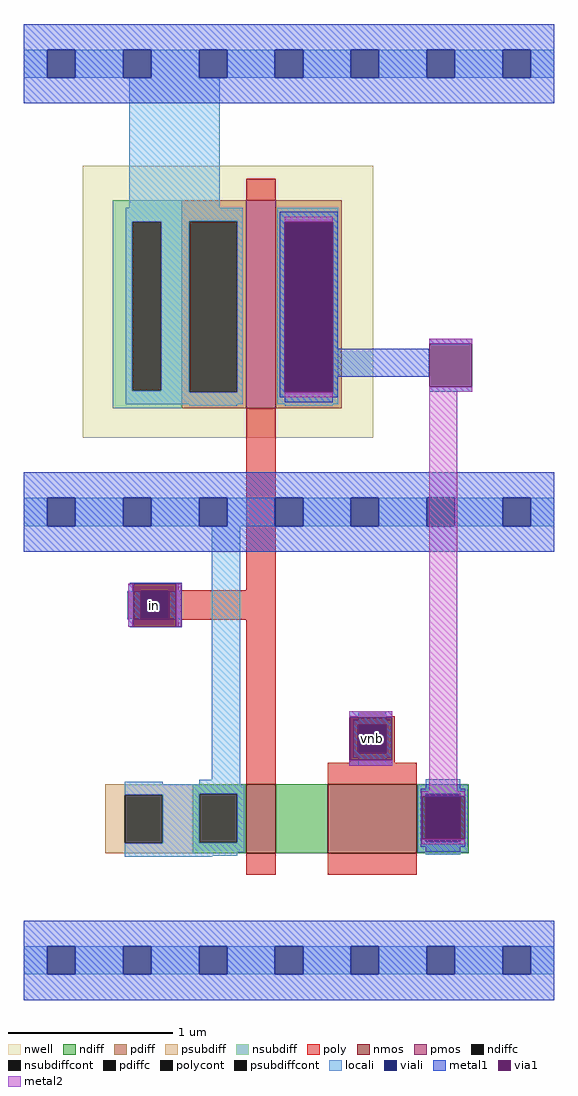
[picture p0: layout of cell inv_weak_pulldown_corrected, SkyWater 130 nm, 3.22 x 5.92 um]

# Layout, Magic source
magic
tech sky130B
magscale 1 2
<< nwell >>
rect -204 554 148 884
<< nmos >>
rect -6 50 30 134
rect 93 50 201 134
<< pmos >>
rect -6 590 30 842
<< ndiff >>
rect -71 122 -6 134
rect -71 63 -63 122
rect -17 63 -6 122
rect -71 50 -6 63
rect 30 50 93 134
rect 201 122 264 134
rect 201 64 212 122
rect 254 64 264 122
rect 201 50 264 64
<< pdiff >>
rect -84 817 -6 842
rect -84 609 -75 817
rect -17 609 -6 817
rect -84 590 -6 609
rect 30 816 110 842
rect 30 609 41 816
rect 99 609 110 816
rect 30 590 110 609
<< ndiffc >>
rect -63 63 -17 122
rect 212 64 254 122
<< pdiffc >>
rect -75 609 -17 817
rect 41 609 99 816
<< psubdiff >>
rect -177 121 -71 134
rect -177 62 -153 121
rect -107 62 -71 121
rect -177 50 -71 62
<< nsubdiff >>
rect -168 816 -84 842
rect -168 611 -144 816
rect -109 611 -84 816
rect -168 590 -84 611
<< psubdiffcont >>
rect -153 62 -107 121
<< nsubdiffcont >>
rect -144 611 -109 816
<< poly >>
rect -6 842 30 868
rect -144 369 -88 378
rect -6 369 30 590
rect -144 368 30 369
rect -150 334 -134 368
rect -100 334 30 368
rect -144 333 30 334
rect -144 324 -88 333
rect -6 134 30 333
rect 130 216 164 222
rect 120 206 174 216
rect 120 172 130 206
rect 164 172 174 206
rect 120 160 174 172
rect 93 134 201 160
rect -6 24 30 50
rect 93 24 201 50
<< polycont >>
rect -134 334 -100 368
rect 130 172 164 206
<< locali >>
rect -276 991 -247 1025
rect -213 991 -155 1025
rect -121 991 -63 1025
rect -29 991 29 1025
rect 63 991 121 1025
rect 155 991 213 1025
rect 247 991 305 1025
rect 339 991 368 1025
rect -148 833 -38 991
rect -152 817 -10 833
rect -152 816 -75 817
rect -152 611 -144 816
rect -109 611 -75 816
rect -152 609 -75 611
rect -17 609 -10 817
rect -152 595 -10 609
rect 32 816 106 833
rect 32 609 41 816
rect 99 609 106 816
rect 32 595 106 609
rect -75 593 -17 595
rect 41 593 99 595
rect -276 447 -247 481
rect -213 447 -155 481
rect -121 447 -63 481
rect -29 447 29 481
rect 63 447 121 481
rect 155 447 213 481
rect 247 447 305 481
rect 339 447 368 481
rect -150 334 -134 368
rect -100 334 -84 368
rect -48 139 -13 447
rect 130 212 164 222
rect 124 206 170 212
rect 124 172 130 206
rect 164 172 170 206
rect 124 166 170 172
rect 130 156 164 166
rect -153 134 -107 137
rect -63 134 -13 139
rect -153 133 -13 134
rect 212 133 254 140
rect -153 122 -8 133
rect -153 121 -63 122
rect -107 63 -63 121
rect -17 63 -8 122
rect -107 62 -8 63
rect -153 51 -8 62
rect 202 122 263 133
rect 202 64 212 122
rect 254 64 263 122
rect 202 51 263 64
rect -153 47 -17 51
rect 212 48 254 51
rect -153 46 -47 47
rect -276 -97 -247 -63
rect -213 -97 -155 -63
rect -121 -97 -63 -63
rect -29 -97 29 -63
rect 63 -97 121 -63
rect 155 -97 213 -63
rect 247 -97 305 -63
rect 339 -97 368 -63
<< viali >>
rect -247 991 -213 1025
rect -155 991 -121 1025
rect -63 991 -29 1025
rect 29 991 63 1025
rect 121 991 155 1025
rect 213 991 247 1025
rect 305 991 339 1025
rect 41 609 99 816
rect -247 447 -213 481
rect -155 447 -121 481
rect -63 447 -29 481
rect 29 447 63 481
rect 121 447 155 481
rect 213 447 247 481
rect 305 447 339 481
rect -134 334 -100 368
rect 130 172 164 206
rect 212 64 254 122
rect -247 -97 -213 -63
rect -155 -97 -121 -63
rect -63 -97 -29 -63
rect 29 -97 63 -63
rect 121 -97 155 -63
rect 213 -97 247 -63
rect 305 -97 339 -63
<< metal1 >>
rect -276 1025 368 1056
rect -276 991 -247 1025
rect -213 991 -155 1025
rect -121 991 -63 1025
rect -29 991 29 1025
rect 63 991 121 1025
rect 155 991 213 1025
rect 247 991 305 1025
rect 339 991 368 1025
rect -276 960 368 991
rect 35 816 105 828
rect 35 609 41 816
rect 99 662 105 816
rect 216 668 268 674
rect 99 628 216 662
rect 99 609 105 628
rect 216 610 268 616
rect 35 603 105 609
rect 41 597 99 603
rect -276 481 368 512
rect -276 447 -247 481
rect -213 447 -155 481
rect -121 447 -63 481
rect -29 447 29 481
rect 63 447 121 481
rect 155 447 213 481
rect 247 447 305 481
rect 339 447 368 481
rect -276 416 368 447
rect -147 377 -84 378
rect -149 325 -143 377
rect -91 325 -84 377
rect -147 324 -84 325
rect 119 215 171 222
rect 119 156 171 163
rect 212 128 254 134
rect 206 122 260 128
rect 206 119 212 122
rect 254 119 260 122
rect 206 67 207 119
rect 259 67 260 119
rect 206 64 212 67
rect 254 64 260 67
rect 206 58 260 64
rect 212 52 254 58
rect -276 -63 368 -32
rect -276 -97 -247 -63
rect -213 -97 -155 -63
rect -121 -97 -63 -63
rect -29 -97 29 -63
rect 63 -97 121 -63
rect 155 -97 213 -63
rect 247 -97 305 -63
rect 339 -97 368 -63
rect -276 -128 368 -97
<< via1 >>
rect 41 609 99 816
rect 216 616 268 668
rect -143 368 -91 377
rect -143 334 -134 368
rect -134 334 -100 368
rect -100 334 -91 368
rect -143 325 -91 334
rect 119 206 171 215
rect 119 172 130 206
rect 130 172 164 206
rect 164 172 171 206
rect 119 163 171 172
rect 207 67 212 119
rect 212 67 254 119
rect 254 67 259 119
<< metal2 >>
rect 41 816 99 822
rect 41 603 99 609
rect 216 668 268 674
rect 216 610 268 616
rect -149 325 -143 377
rect -91 325 -85 377
rect 119 215 171 222
rect 119 156 171 163
rect 216 125 250 610
rect 207 119 259 125
rect 207 61 259 67
<< labels >>
flabel metal2 -134 334 -100 368 0 FreeSans 160 0 0 0 in
flabel metal2 130 172 164 206 0 FreeSans 160 0 0 0 vnb
<< end >>
